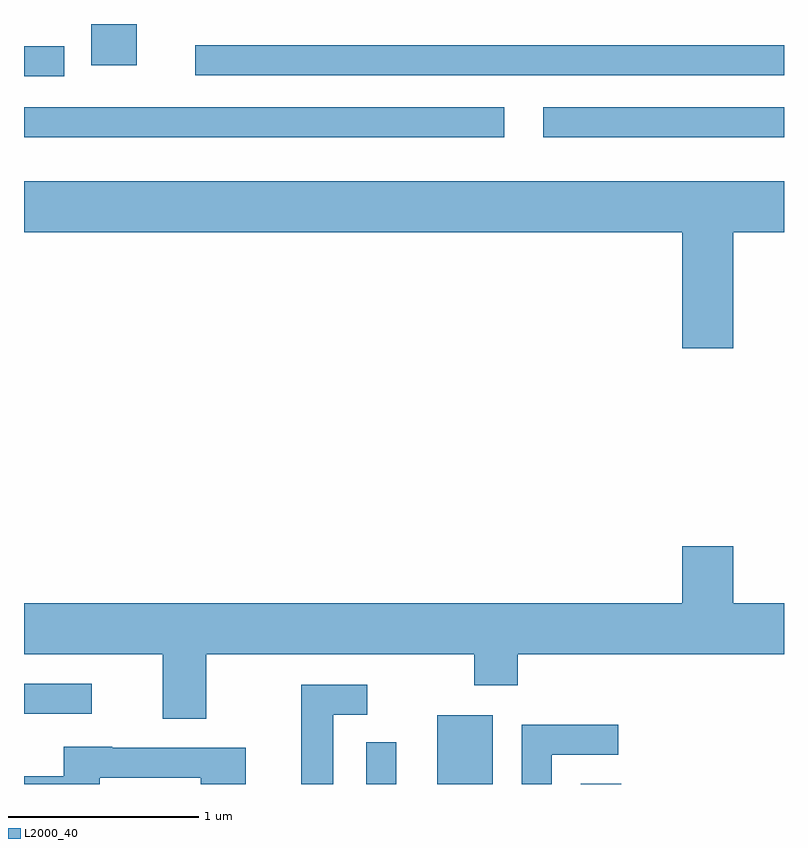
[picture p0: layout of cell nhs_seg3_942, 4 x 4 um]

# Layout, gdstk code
import gdstk
lib = gdstk.Library(unit=1e-6, precision=1e-09)
def R(c, l, rs):  # rectangles x0, y0, x1, y1
    for r in rs: c.add(gdstk.rectangle(r[:2], r[2:], *l))
def P(c, l, *ps):  # polygons
    for p in ps: c.add(gdstk.Polygon(p, *l))
L2000_40 = (2000, 40)

nhs_seg3_942 = lib.new_cell('nhs_seg3_942')
R(nhs_seg3_942, L2000_40, [(213.411,1231.892,213.569,1232.113), (213.786,1231.892,214.079,1232.254), (214.541,1231.892,214.754,1231.894), (211.611,1232.261,211.968,1232.419), (211.611,1235.296,214.138,1235.454), (214.343,1235.296,215.611,1235.454), (211.611,1235.616,211.823,1235.774), (212.513,1235.621,215.611,1235.779), (211.966,1235.676,212.204,1235.892)])
P(nhs_seg3_942, L2000_40, [(215.344,1234.796),(215.611,1234.796),(215.611,1235.064),(211.611,1235.064),(211.611,1234.796),(215.076,1234.796),(215.076,1234.186),(215.344,1234.186)],
  [(212.569,1232.576),(213.981,1232.576),(213.981,1232.411),(214.209,1232.411),(214.209,1232.576),(215.611,1232.576),(215.611,1232.844),(215.344,1232.844),(215.344,1233.144),(215.076,1233.144),(215.076,1232.844),(211.611,1232.844),(211.611,1232.576),(212.341,1232.576),(212.341,1232.236),(212.569,1232.236)],
  [(213.239,1232.256),(213.418,1232.256),(213.418,1232.414),(213.071,1232.414),(213.071,1231.892),(213.239,1231.892)],
  [(214.389,1232.046),(214.738,1232.046),(214.738,1232.204),(214.231,1232.204),(214.231,1231.892),(214.389,1231.892)],
  [(212.009,1231.926),(212.541,1231.926),(212.541,1231.892),(212.779,1231.892),(212.779,1232.084),(212.075,1232.084),(212.075,1232.089),(211.821,1232.089),(211.821,1231.934),(211.611,1231.934),(211.611,1231.892),(212.009,1231.892)])

lib.write_gds('nhs_seg3_942.gds')
